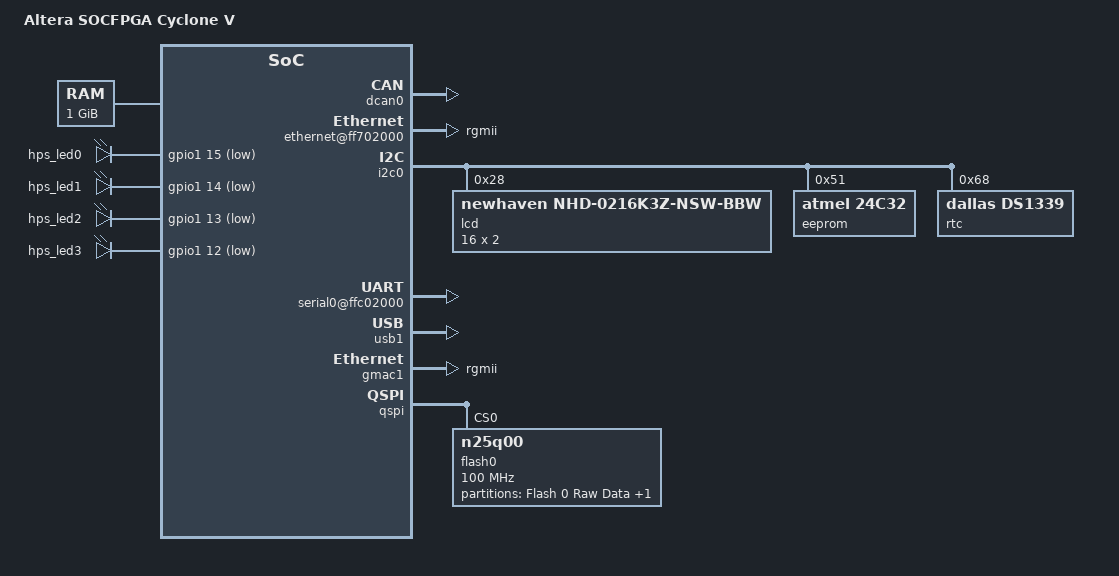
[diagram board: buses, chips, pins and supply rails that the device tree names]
/*
 * Copyright Altera Corporation (C) 2012,2014. All rights reserved.
 *
 * This program is free software; you can redistribute it and/or modify
 * it under the terms and conditions of the GNU General Public License,
 * version 2, as published by the Free Software Foundation.
 *
 * This program is distributed in the hope it will be useful, but WITHOUT
 * ANY WARRANTY; without even the implied warranty of MERCHANTABILITY or
 * FITNESS FOR A PARTICULAR PURPOSE.  See the GNU General Public License for
 * more details.
 *
 * You should have received a copy of the GNU General Public License along with
 * this program.  If not, see <http://www.gnu.org/licenses/>.
 */

/dts-v1/;
/include/ "socfpga.dtsi"

/ {
	model = "Altera SOCFPGA Cyclone V";
	compatible = "altr,socfpga-cyclone5", "altr,socfpga";

	chosen {
		bootargs = "console=ttyS0,115200 root=/dev/mmcblk0p2 rw rootwait";
	};

	memory {
		name = "memory";
		device_type = "memory";
		reg = <0x0 0x40000000>; /* 1 GB */
	};

	aliases {
		/* this allow the ethaddr uboot environmnet variable contents
		 * to be added to the gmac1 device tree blob.
		 */
		ethernet0 = &gmac1;
	};

	soc {
		clkmgr@ffd04000 {
			clocks {
				osc1 {
					clock-frequency = <25000000>;
				};
			};
		};

		dcan0: d_can@ffc00000 {
			status = "okay";
		};

		dwmmc0@ff704000 {
			num-slots = <1>;
			supports-highspeed;
			broken-cd;
			altr,dw-mshc-ciu-div = <3>;
			altr,dw-mshc-sdr-timing = <0 3>;

			slot@0 {
				reg = <0>;
				bus-width = <4>;
			};
		};

		ethernet@ff702000 {
			phy-mode = "rgmii";
			phy-addr = <0xffffffff>; /* probe for phy addr */
			status = "okay";
		};

		gpio@ff708000 {
			status = "okay";
		};

		gpio@ff709000 {
			status = "okay";
		};

		gpio@ff70a000 {
			status = "okay";
		};

		i2c0: i2c@ffc04000 {
			speed-mode = <0>;
			status = "okay";
		};

		serial0@ffc02000 {
			status = "okay";
		};

		sysmgr@ffd08000 {
			cpu1-start-addr = <0xffd080c4>;
		};

		usb1: usb@ffb40000 {
			status = "okay";
		};

		watchdog0: wd@ffd02000 {
			status = "okay";
		};

		leds {
			compatible = "gpio-leds";
			hps0 {
				label = "hps_led0";
				gpios = <&gpio1 15 1>;
			};

			hps1 {
				label = "hps_led1";
				gpios = <&gpio1 14 1>;
			};

			hps2 {
				label = "hps_led2";
				gpios = <&gpio1 13 1>;
			};

			hps3 {
				label = "hps_led3";
				gpios = <&gpio1 12 1>;
			};
		};
	};
};

&i2c0 {
	/*
	 * adjust the falling times to decrease the i2c frequency to 50Khz
	 * because the LCD module does not work at the standard 100Khz
	 */
	i2c-sda-falling-time-ns = <5000>;
	i2c-scl-falling-time-ns = <5000>;

	lcd: lcd@28 {
		compatible = "newhaven,nhd-0216k3z-nsw-bbw";
		reg = <0x28>;
		height = <2>;
		width = <16>;
		brightness = <8>;
	};

	eeprom@51 {
		compatible = "atmel,24c32";
		reg = <0x51>;
		pagesize = <32>;
	};

	rtc@68 {
		compatible = "dallas,ds1339";
		reg = <0x68>;
	};
};

&gmac1 {
	phy-mode = "rgmii";
	snps,phy-addr = <0xffffffff>; /* probe for phy addr */
	rxd0-skew-ps = <0>;
	rxd0-skew-ps = <0>;
	rxd1-skew-ps = <0>;
	rxd2-skew-ps = <0>;
	rxd3-skew-ps = <0>;
	txen-skew-ps = <0>;
	txc-skew-ps = <2600>;
	rxdv-skew-ps = <0>;
	rxc-skew-ps = <2000>;
	snps,max-mtu = <3800>;
	status = "okay";
};

&qspi {
	status = "okay";
	flash0: n25q00@0 {
		#address-cells = <1>;
		#size-cells = <1>;
		compatible = "n25q00";
		reg = <0>;      /* chip select */
		spi-max-frequency = <100000000>;
		m25p,fast-read;
		page-size = <256>;
		block-size = <16>; /* 2^16, 64KB */
		read-delay = <4>;  /* delay value in read data capture register */
		tshsl-ns = <50>;
		tsd2d-ns = <50>;
		tchsh-ns = <4>;
		tslch-ns = <4>;

		partition@qspi-boot {
		/* 8MB for raw data. */
		label = "Flash 0 Raw Data";
		reg = <0x0 0x800000>;
		};

		partition@qspi-rootfs {
		/* 120MB for jffs2 data. */
		label = "Flash 0 jffs2 Filesystem";
		reg = <0x800000 0x7800000>;
		};
	};
};
